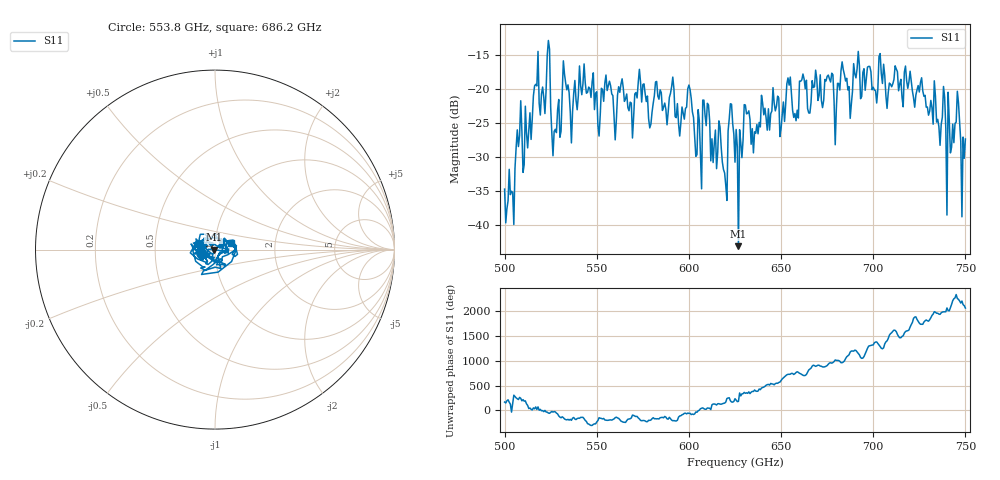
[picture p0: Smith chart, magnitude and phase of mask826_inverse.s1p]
!Created with skrf (http://scikit-rf.org).
# GHz S MA R 50.0
!freq magS11 angS11
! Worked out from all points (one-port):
!   401 points, 500 GHz to 750 GHz, reference 50 ohm
!   lowest |S11| = -43.2 dB at 626.9 GHz (marker M1), VSWR 1.01, Z = 49.3 - j0.0142 ohm
!   |S11| at or under -10 dB: start of sweep to end of sweep
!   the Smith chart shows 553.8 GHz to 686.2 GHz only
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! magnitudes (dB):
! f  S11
! 500 GHz  -34.8
! 513.8 GHz  -23.5
! 516.9 GHz  -19.4
! 520.6 GHz  -19.8
! 523.8 GHz  -12.9
! 526.9 GHz  -26.3
! 531.2 GHz  -20.8
! 562.5 GHz  -20.5
! 579.4 GHz  -25.2
! 590.6 GHz  -19.7
! 593.8 GHz  -22.2
! 600.6 GHz  -20.1
! 605.6 GHz  -24.7
! 609.4 GHz  -25.4
! 619.4 GHz  -32.4
! 622.5 GHz  -22.2
! 625 GHz  -30.8
! 626.9 GHz  -43.2
! 631.2 GHz  -23.7
! 635 GHz  -29.4
! 656.2 GHz  -23.2
! 676.9 GHz  -19.0
! 680 GHz  -22.8
! 683.8 GHz  -17.2
! 687.5 GHz  -24.4
! 690.6 GHz  -18.4
! 718.8 GHz  -19.9
! 750 GHz  -27.4
